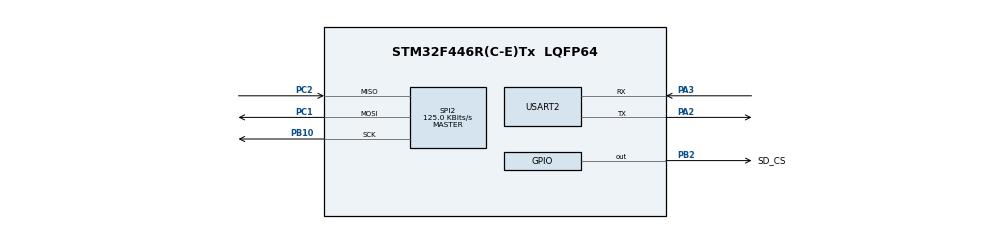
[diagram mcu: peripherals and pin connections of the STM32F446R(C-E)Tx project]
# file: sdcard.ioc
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Mcu.Family=STM32F4
Mcu.Name=STM32F446R(C-E)Tx
Mcu.Package=LQFP64
NVIC.PriorityGroup=NVIC_PRIORITYGROUP_4
NVIC.SPI2_IRQn=true\:0\:0\:false\:false\:true\:true\:true
NVIC.USART2_IRQn=true\:0\:0\:false\:false\:true\:true\:true
PA2.Mode=Asynchronous
PA2.Signal=USART2_TX
PA3.Mode=Asynchronous
PA3.Signal=USART2_RX
PB10.Mode=Full_Duplex_Master
PB10.Signal=SPI2_SCK
PB2.GPIO_Label=SD_CS
PB2.Signal=GPIO_Output
PC1.Mode=Full_Duplex_Master
PC1.Signal=SPI2_MOSI
PC2.Mode=Full_Duplex_Master
PC2.Signal=SPI2_MISO
ProjectManager.HeapSize=0x200
ProjectManager.StackSize=0x400
ProjectManager.TargetToolchain=STM32CubeIDE
RCC.CortexFreq_Value=16000000
RCC.USBFreq_Value=96000000
RCC.VCOOutputFreq_Value=192000000
SPI2.BaudRatePrescaler=SPI_BAUDRATEPRESCALER_128
SPI2.CalculateBaudRate=125.0 KBits/s
SPI2.Direction=SPI_DIRECTION_2LINES
SPI2.Mode=SPI_MODE_MASTER
SPI2.VirtualType=VM_MASTER
USART2.VirtualMode=VM_ASYNC
VP_FATFS_VS_Generic.Mode=User_defined
board=custom

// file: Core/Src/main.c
/* USER CODE BEGIN Header */
/**
  ******************************************************************************
  * @file           : main.c
  * @brief          : Main program body
  ******************************************************************************
  * @attention
  *
  * <h2><center>&copy; Copyright (c) 2021 STMicroelectronics.
  * All rights reserved.</center></h2>
  *
  * This software component is licensed by ST under BSD 3-Clause license,
  * the "License"; You may not use this file except in compliance with the
  * License. You may obtain a copy of the License at:
  *                        opensource.org/licenses/BSD-3-Clause
  *
  ******************************************************************************
  */
/* USER CODE END Header */
#include "main.h"
#include "fatfs.h"

/* USER CODE BEGIN Includes */
#include "string.h"
/* USER CODE END Includes */

SPI_HandleTypeDef hspi2;

UART_HandleTypeDef huart2;

void SystemClock_Config(void);
static void MX_GPIO_Init(void);
static void MX_SPI2_Init(void);
static void MX_USART2_UART_Init(void);

int main(void)
{

  /* MCU Configuration--------------------------------------------------------*/

  /* Reset of all peripherals, Initializes the Flash interface and the Systick. */
  HAL_Init();

  /* Configure the system clock */
  SystemClock_Config();

  /* Initialize all configured peripherals */
  MX_GPIO_Init();
  MX_SPI2_Init();
  MX_FATFS_Init();
  MX_USART2_UART_Init();
  /* USER CODE BEGIN 2 */
  uart_printf(&huart2, "\r\n SD card demo \r\n\r\n");
  HAL_Delay(1000); /* has to wait to set the fast speed */
  FATFS FATFs;
  FIL fil;
  FRESULT fres;

  fres = f_mount(&FATFs, "", 1); // 1 = mount now
  if (fres != FR_OK)
  {
	  uart_printf(NULL, "f_mount error %i\r\n", fres);
	  while(1);
  }
  //Let's get some statistics from the SD card
    DWORD free_clusters, free_sectors, total_sectors;

    FATFS* getFreeFs;

    fres = f_getfree("", &free_clusters, &getFreeFs);
    if (fres != FR_OK) {
  	uart_printf(&huart2, "f_getfree error (%i)\r\n", fres);
  	while(1);
    }

    //Formula comes from ChaN's documentation
    total_sectors = (getFreeFs->n_fatent - 2) * getFreeFs->csize;
    free_sectors = free_clusters * getFreeFs->csize;

    uart_printf(&huart2, "SD card stats:\r\n%10lu KiB total drive space.\r\n%10lu KiB available.\r\n", total_sectors / 2, free_sectors / 2);

    //Now let's try to open file "test.txt"
    fres = f_open(&fil, "test.txt", FA_READ);
    if (fres != FR_OK) {
  	uart_printf(&huart2, "f_open error (%i)\r\n");
  	while(1);
    }
    uart_printf(&huart2, "I was able to open 'test.txt' for reading!\r\n");

    //Read 30 bytes from "test.txt" on the SD card
    BYTE readBuf[30];

    //We can either use f_read OR f_gets to get data out of files
    //f_gets is a wrapper on f_read that does some string formatting for us
    TCHAR* rres = f_gets((TCHAR*)readBuf, 30, &fil);
    if(rres != 0) {
  	uart_printf(&huart2, "Read string from 'test.txt' contents: %s\r\n", readBuf);
    } else {
  	uart_printf(&huart2, "f_gets error (%i)\r\n", fres);
    }

    //Be a tidy kiwi - don't forget to close your file!
    f_close(&fil);

    //Now let's try and write a file "write.txt"
    fres = f_open(&fil, "write.txt", FA_WRITE | FA_OPEN_ALWAYS | FA_CREATE_ALWAYS);
    if(fres == FR_OK) {
  	uart_printf(&huart2, "I was able to open 'write.txt' for writing\r\n");
    } else {
  	uart_printf(&huart2, "f_open error (%i)\r\n", fres);
    }

    //Copy in a string
    strncpy((char*)readBuf, "a new file is made!", 19);
    UINT bytesWrote;
    fres = f_write(&fil, readBuf, 19, &bytesWrote);
    if(fres == FR_OK) {
  	uart_printf(&huart2, "Wrote %i bytes to 'write.txt'!\r\n", bytesWrote);
    } else {
  	uart_printf(&huart2, "f_write error (%i)\r\n");
    }

    //Be a tidy kiwi - don't forget to close your file!
    f_close(&fil);

    //We're done, so de-mount the drive
    f_mount(NULL, "", 0);
  /* USER CODE END 2 */

  /* Infinite loop */
  while (1)
  {

  }
}

void SystemClock_Config(void)
{
  RCC_OscInitTypeDef RCC_OscInitStruct = {0};
  RCC_ClkInitTypeDef RCC_ClkInitStruct = {0};

  /** Configure the main internal regulator output voltage
  */
  __HAL_RCC_PWR_CLK_ENABLE();
  __HAL_PWR_VOLTAGESCALING_CONFIG(PWR_REGULATOR_VOLTAGE_SCALE3);
  /** Initializes the RCC Oscillators according to the specified parameters
  * in the RCC_OscInitTypeDef structure.
  */
  RCC_OscInitStruct.OscillatorType = RCC_OSCILLATORTYPE_HSI;
  RCC_OscInitStruct.HSIState = RCC_HSI_ON;
  RCC_OscInitStruct.HSICalibrationValue = RCC_HSICALIBRATION_DEFAULT;
  RCC_OscInitStruct.PLL.PLLState = RCC_PLL_NONE;
  if (HAL_RCC_OscConfig(&RCC_OscInitStruct) != HAL_OK)
  {
    Error_Handler();
  }
  /** Initializes the CPU, AHB and APB buses clocks
  */
  RCC_ClkInitStruct.ClockType = RCC_CLOCKTYPE_HCLK|RCC_CLOCKTYPE_SYSCLK
                              |RCC_CLOCKTYPE_PCLK1|RCC_CLOCKTYPE_PCLK2;
  RCC_ClkInitStruct.SYSCLKSource = RCC_SYSCLKSOURCE_HSI;
  RCC_ClkInitStruct.AHBCLKDivider = RCC_SYSCLK_DIV1;
  RCC_ClkInitStruct.APB1CLKDivider = RCC_HCLK_DIV1;
  RCC_ClkInitStruct.APB2CLKDivider = RCC_HCLK_DIV1;

  if (HAL_RCC_ClockConfig(&RCC_ClkInitStruct, FLASH_LATENCY_0) != HAL_OK)
  {
    Error_Handler();
  }
}

static void MX_SPI2_Init(void)
{

  /* SPI2 parameter configuration*/
  hspi2.Instance = SPI2;
  hspi2.Init.Mode = SPI_MODE_MASTER;
  hspi2.Init.Direction = SPI_DIRECTION_2LINES;
  hspi2.Init.DataSize = SPI_DATASIZE_8BIT;
  hspi2.Init.CLKPolarity = SPI_POLARITY_LOW;
  hspi2.Init.CLKPhase = SPI_PHASE_1EDGE;
  hspi2.Init.NSS = SPI_NSS_SOFT;
  hspi2.Init.BaudRatePrescaler = SPI_BAUDRATEPRESCALER_128;
  hspi2.Init.FirstBit = SPI_FIRSTBIT_MSB;
  hspi2.Init.TIMode = SPI_TIMODE_DISABLE;
  hspi2.Init.CRCCalculation = SPI_CRCCALCULATION_DISABLE;
  hspi2.Init.CRCPolynomial = 10;
  if (HAL_SPI_Init(&hspi2) != HAL_OK)
  {
    Error_Handler();
  }

}

static void MX_USART2_UART_Init(void)
{

  huart2.Instance = USART2;
  huart2.Init.BaudRate = 115200;
  huart2.Init.WordLength = UART_WORDLENGTH_8B;
  huart2.Init.StopBits = UART_STOPBITS_1;
  huart2.Init.Parity = UART_PARITY_NONE;
  huart2.Init.Mode = UART_MODE_TX_RX;
  huart2.Init.HwFlowCtl = UART_HWCONTROL_NONE;
  huart2.Init.OverSampling = UART_OVERSAMPLING_16;
  if (HAL_UART_Init(&huart2) != HAL_OK)
  {
    Error_Handler();
  }

}

static void MX_GPIO_Init(void)
{
  GPIO_InitTypeDef GPIO_InitStruct = {0};

  /* GPIO Ports Clock Enable */
  __HAL_RCC_GPIOC_CLK_ENABLE();
  __HAL_RCC_GPIOA_CLK_ENABLE();
  __HAL_RCC_GPIOB_CLK_ENABLE();

  /*Configure GPIO pin Output Level */
  HAL_GPIO_WritePin(SD_CS_GPIO_Port, SD_CS_Pin, GPIO_PIN_RESET);

  /*Configure GPIO pin : SD_CS_Pin */
  GPIO_InitStruct.Pin = SD_CS_Pin;
  GPIO_InitStruct.Mode = GPIO_MODE_OUTPUT_PP;
  GPIO_InitStruct.Pull = GPIO_NOPULL;
  GPIO_InitStruct.Speed = GPIO_SPEED_FREQ_LOW;
  HAL_GPIO_Init(SD_CS_GPIO_Port, &GPIO_InitStruct);

}

void Error_Handler(void)
{
}

/************************ (C) COPYRIGHT STMicroelectronics *****END OF FILE****/
